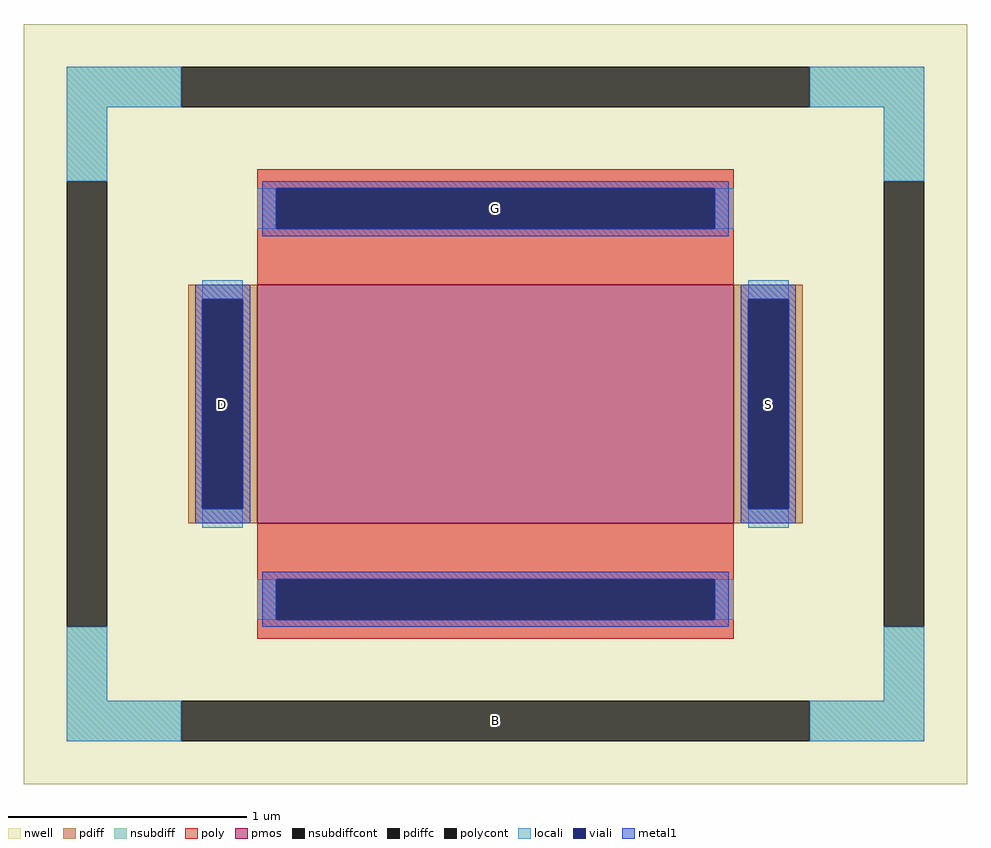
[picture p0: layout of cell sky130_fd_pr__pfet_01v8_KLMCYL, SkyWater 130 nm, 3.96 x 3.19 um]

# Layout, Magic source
magic
tech sky130A
magscale 1 2
<< nwell >>
rect -396 -319 396 319
<< pmos >>
rect -200 -100 200 100
<< pdiff >>
rect -258 88 -200 100
rect -258 -88 -246 88
rect -212 -88 -200 88
rect -258 -100 -200 -88
rect 200 88 258 100
rect 200 -88 212 88
rect 246 -88 258 88
rect 200 -100 258 -88
<< pdiffc >>
rect -246 -88 -212 88
rect 212 -88 246 88
<< nsubdiff >>
rect -360 249 -264 283
rect 264 249 360 283
rect -360 187 -326 249
rect 326 187 360 249
rect -360 -249 -326 -187
rect 326 -249 360 -187
rect -360 -283 -264 -249
rect 264 -283 360 -249
<< nsubdiffcont >>
rect -264 249 264 283
rect -360 -187 -326 187
rect 326 -187 360 187
rect -264 -283 264 -249
<< poly >>
rect -200 181 200 197
rect -200 147 -184 181
rect 184 147 200 181
rect -200 100 200 147
rect -200 -147 200 -100
rect -200 -181 -184 -147
rect 184 -181 200 -147
rect -200 -197 200 -181
<< polycont >>
rect -184 147 184 181
rect -184 -181 184 -147
<< locali >>
rect -360 249 -264 283
rect 264 249 360 283
rect -360 187 -326 249
rect 326 187 360 249
rect -200 147 -184 181
rect 184 147 200 181
rect -246 88 -212 104
rect -246 -104 -212 -88
rect 212 88 246 104
rect 212 -104 246 -88
rect -200 -181 -184 -147
rect 184 -181 200 -147
rect -360 -249 -326 -187
rect 326 -249 360 -187
rect -360 -283 -264 -249
rect 264 -283 360 -249
<< viali >>
rect -184 147 184 181
rect -246 -88 -212 88
rect 212 -88 246 88
rect -184 -181 184 -147
<< metal1 >>
rect -196 181 196 187
rect -196 147 -184 181
rect 184 147 196 181
rect -196 141 196 147
rect -252 88 -206 100
rect -252 -88 -246 88
rect -212 -88 -206 88
rect -252 -100 -206 -88
rect 206 88 252 100
rect 206 -88 212 88
rect 246 -88 252 88
rect 206 -100 252 -88
rect -196 -147 196 -141
rect -196 -181 -184 -147
rect 184 -181 196 -147
rect -196 -187 196 -181
<< labels >>
rlabel nsubdiffcont 0 -266 0 -266 0 B
port 1 nsew
rlabel pdiffc -229 0 -229 0 0 D
port 2 nsew
rlabel pdiffc 229 0 229 0 0 S
port 3 nsew
rlabel polycont 0 164 0 164 0 G
port 4 nsew
<< properties >>
string FIXED_BBOX -343 -266 343 266
string gencell sky130_fd_pr__pfet_01v8
string library sky130
string parameters w 1.0 l 2.0 m 1 nf 1 diffcov 100 polycov 100 guard 1 glc 1 grc 1 gtc 1 gbc 1 tbcov 100 rlcov 100 topc 1 botc 1 poverlap 0 doverlap 1 lmin 0.15 wmin 0.42 class mosfet compatible {sky130_fd_pr__pfet_01v8  sky130_fd_pr__pfet_01v8_lvt sky130_fd_pr__pfet_01v8_hvt  sky130_fd_pr__pfet_g5v0d10v5} full_metal 1 conn_gates 0 viasrc 100 viadrn 100 viagate 100 viagb 0 viagr 0 viagl 0 viagt 0 doports 1 ad 0.29 as 0.29 pd 2.58 ps 2.58 nrd 0.29 nrs 0.29 sa 0 sb 0 sd 0 mult 1
<< end >>
